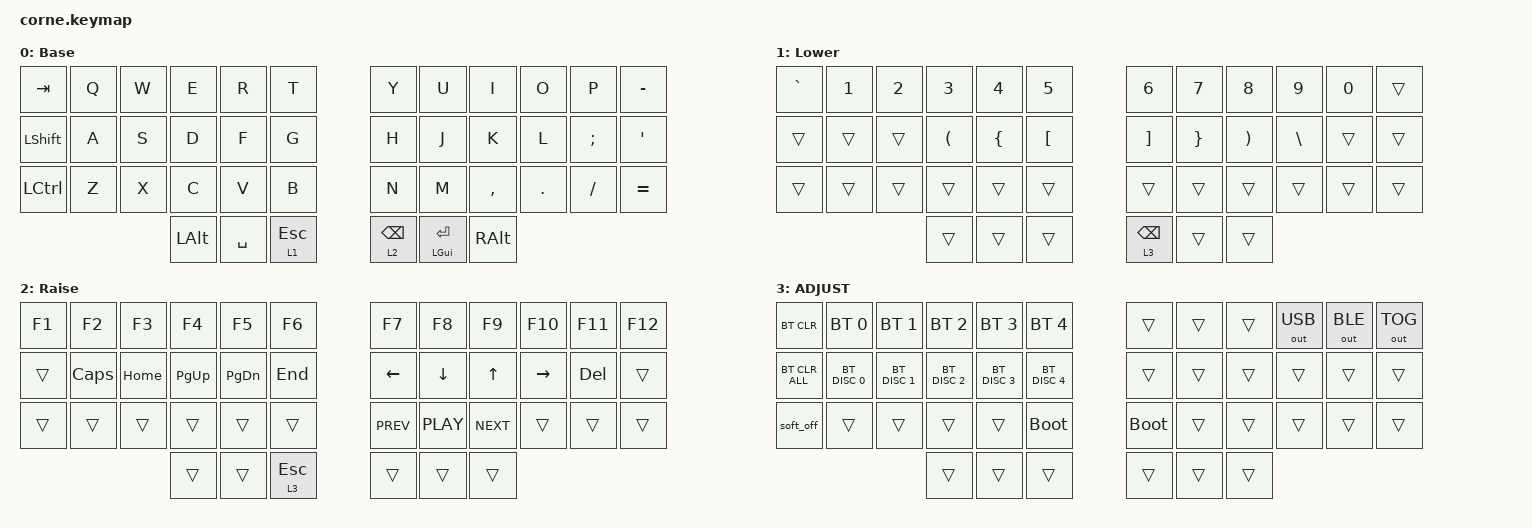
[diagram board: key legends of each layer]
/*
 * Copyright (c) 2020 The ZMK Contributors
 *
 * SPDX-License-Identifier: MIT
 */

#include <behaviors.dtsi>
#include <dt-bindings/zmk/bt.h>
#include <dt-bindings/zmk/keys.h>
#include <dt-bindings/zmk/outputs.h>
#include "props.dtsi"

/ {
    keymap {
        compatible = "zmk,keymap";

        default_layer {
            // -----------------------------------------------------------------------------------------
            // |  TAB |  Q  |  W  |  E  |  R  |  T  |   |  Y  |  U   |  I  |  O  |  P  | BKSP |
            // | CTRL |  A  |  S  |  D  |  F  |  G  |   |  H  |  J   |  K  |  L  |  ;  |  '   |
            // | SHFT |  Z  |  X  |  C  |  V  |  B  |   |  N  |  M   |  ,  |  .  |  /  | ESC  |
            //                    | GUI | LWR | SPC |   | ENT | RSE  | ALT |

            display-name = "Base";
            bindings = <
&kp TAB     &kp Q  &kp W  &kp E     &kp R      &kp T        &kp Y       &kp U         &kp I      &kp O    &kp P     &kp MINUS
&kp LSHIFT  &kp A  &kp S  &kp D     &kp F      &kp G        &kp H       &kp J         &kp K      &kp L    &kp SEMI  &kp SQT
&kp LCTRL   &kp Z  &kp X  &kp C     &kp V      &kp B        &kp N       &kp M         &kp COMMA  &kp DOT  &kp FSLH  &kp EQUAL
                          &kp LALT  &kp SPACE  &lt 1 ESC    &lt 2 BSPC  &mt LGUI RET  &kp RALT
            >;
        };

        lower_layer {
            // -----------------------------------------------------------------------------------------
            // |  TAB |  1  |  2  |  3  |  4  |  5  |   |  6  |  7  |  8  |  9  |  0  | BKSP |
            // | BTCLR| BT1 | BT2 | BT3 | BT4 | BT5 |   | LFT | DWN |  UP | RGT |     |      |
            // | SHFT |     |     |     |     |     |   |     |     |     |     |     |      |
            //                    | GUI |     | SPC |   | ENT |     | ALT |

            display-name = "Lower";
            bindings = <
&kp GRAVE  &kp N1  &kp N2  &kp N3    &kp N4    &kp N5      &kp N6      &kp N7    &kp N8    &kp N9    &kp N0  &trans
&trans     &trans  &trans  &kp LPAR  &kp LBRC  &kp LBKT    &kp RBKT    &kp RBRC  &kp RPAR  &kp BSLH  &trans  &trans
&trans     &trans  &trans  &trans    &trans    &trans      &trans      &trans    &trans    &trans    &trans  &trans
                           &trans    &trans    &trans      &lt 3 BSPC  &trans    &trans
            >;
        };

        raise_layer {
            // -----------------------------------------------------------------------------------------
            // |  TAB |  !  |  @  |  #  |  $  |  %  |   |  ^  |  &  |  *  |  (  |  )  | BKSP |
            // | CTRL |     |     |     |     |     |   |  -  |  =  |  [  |  ]  |  \  |  `   |
            // | SHFT |     |     |     |     |     |   |  _  |  +  |  {  |  }  | "|" |  ~   |
            //                    | GUI |     | SPC |   | ENT |     | ALT |

            display-name = "Raise";
            bindings = <
&kp F1  &kp F2    &kp F3    &kp F4       &kp F5         &kp F6       &kp F7      &kp F8      &kp F9      &kp F10    &kp F11  &kp F12
&trans  &kp CAPS  &kp HOME  &kp PAGE_UP  &kp PAGE_DOWN  &kp END      &kp LEFT    &kp DOWN    &kp UP      &kp RIGHT  &kp DEL  &trans
&trans  &trans    &trans    &trans       &trans         &trans       &kp C_PREV  &kp C_PLAY  &kp C_NEXT  &trans     &trans   &trans
                            &trans       &trans         &lt 3 ESC    &trans      &trans      &trans
            >;
        };

        adjust_layer {
            display-name = "ADJUST";
            bindings = <
&bt BT_CLR      &bt BT_SEL 0   &bt BT_SEL 1   &bt BT_SEL 2   &bt BT_SEL 3   &bt BT_SEL 4     &trans       &trans  &trans  &out OUT_USB  &out OUT_BLE  &out OUT_TOG
&bt BT_CLR_ALL  &bt BT_DISC 0  &bt BT_DISC 1  &bt BT_DISC 2  &bt BT_DISC 3  &bt BT_DISC 4    &trans       &trans  &trans  &trans        &trans        &trans
&soft_off       &trans         &trans         &trans         &trans         &bootloader      &bootloader  &trans  &trans  &trans        &trans        &trans
                                              &trans         &trans         &trans           &trans       &trans  &trans
            >;
        };

        extra_1 { status = "reserved"; };

        extra_2 { status = "reserved"; };
    };
};
